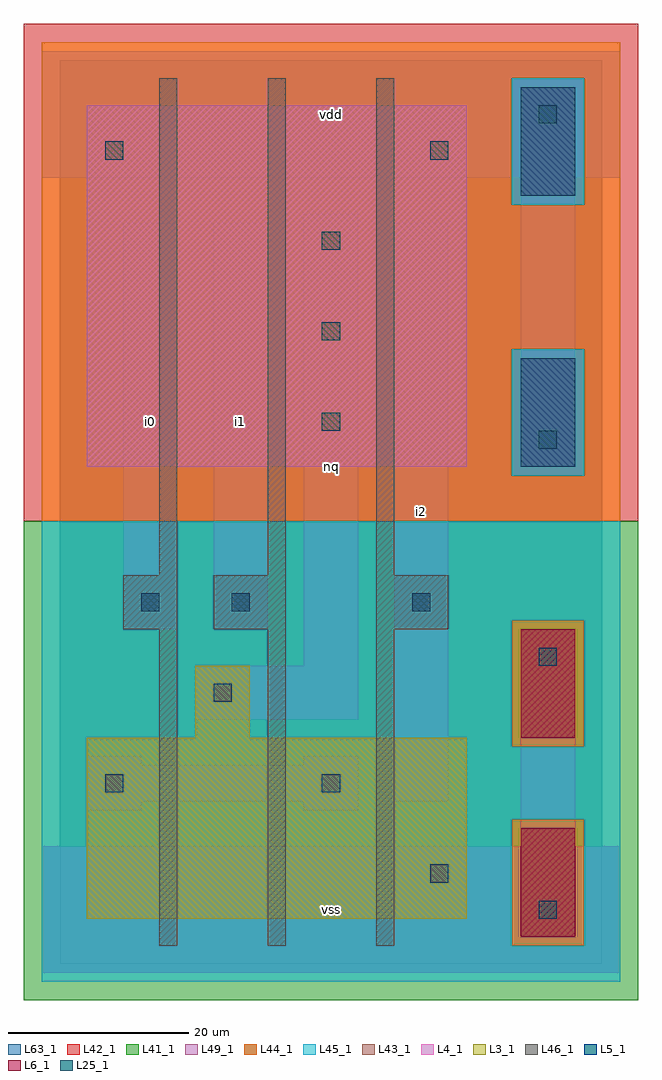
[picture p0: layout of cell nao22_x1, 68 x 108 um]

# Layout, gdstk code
import gdstk
lib = gdstk.Library(unit=1e-6, precision=1e-09)
def R(c, l, rs):  # rectangles x0, y0, x1, y1
    for r in rs: c.add(gdstk.rectangle(r[:2], r[2:], *l))
def A(c, l, x, y, w, h, nx, ny, dx, dy):  # array of equal rectangles
    R(c, l, [(x+i*dx, y+j*dy, x+i*dx+w, y+j*dy+h) for i in range(nx) for j in range(ny)])
L3_1 = (3, 1)
L4_1 = (4, 1)
L5_1 = (5, 1)
L6_1 = (6, 1)
L25_1 = (25, 1)
L41_1 = (41, 1)
L42_1 = (42, 1)
L43_1 = (43, 1)
L44_1 = (44, 1)
L45_1 = (45, 1)
L46_1 = (46, 1)
L49_1 = (49, 1)
L63_1 = (63, 1)

nao22_x1 = lib.new_cell('nao22_x1')
R(nao22_x1, L3_1, [(3,5,45,25), (15,25,21,33)])
R(nao22_x1, L4_1, [(3,55,45,95)])
R(nao22_x1, L5_1, [(51,55,57,67), (51,85,57,97)])
R(nao22_x1, L6_1, [(51,3,57,15), (51,25,57,37)])
A(nao22_x1, L25_1, 29, 59, 2, 2, 1, 3, 0, 10)
R(nao22_x1, L25_1, [(53,5,55,7), (41,9,43,11), (5,19,7,21), (29,19,31,21), (17,29,19,31), (53,33,55,35), (9,39,11,41), (19,39,21,41), (39,39,41,41), (53,57,55,59), (5,89,7,91), (41,89,43,91), (53,93,55,95)])
R(nao22_x1, L41_1, [(-4,-4,64,49)])
R(nao22_x1, L42_1, [(-4,49,64,104)])
A(nao22_x1, L43_1, 51, 25, 6, 12, 1, 3, 0, 30)
R(nao22_x1, L43_1, [(51,3,57,15), (3,5,45,25), (15,25,21,33), (3,55,45,95)])
R(nao22_x1, L44_1, [(50,2,58,16), (50,24,58,38), (-2,49,62,54), (-2,54,50,68), (58,54,62,68), (-2,68,62,84), (-2,84,50,98), (58,84,62,98), (-2,98,62,102)])
R(nao22_x1, L45_1, [(-2,-2,62,2), (-2,2,50,16), (58,2,62,16), (-2,16,62,24), (-2,24,50,38), (58,24,62,38), (-2,38,62,49), (50,54,58,68), (50,84,58,98)])
A(nao22_x1, L46_1, 11, 2, 2, 35, 3, 1, 12, 0)
A(nao22_x1, L46_1, 11, 43, 2, 55, 3, 1, 12, 0)
R(nao22_x1, L46_1, [(7,37,13,43), (17,37,25,43), (35,37,43,43)])
R(nao22_x1, L49_1, [(-2,-1,62,13), (51,13,57,37), (3,17,9,18), (27,17,33,18), (3,18,33,22), (37,18,43,82), (3,22,9,23), (27,22,33,23), (15,27,33,33), (27,33,33,83), (7,37,13,82), (17,37,23,82), (51,55,57,87), (-2,87,62,101)])
R(nao22_x1, L63_1, [(0,0,60,100)])
nao22_x1.add(gdstk.Label('i0', (10,60), layer=49, texttype=1))
nao22_x1.add(gdstk.Label('i0', (10,60), layer=49, texttype=1))
nao22_x1.add(gdstk.Label('i1', (20,60), layer=49, texttype=1))
nao22_x1.add(gdstk.Label('i1', (20,60), layer=49, texttype=1))
nao22_x1.add(gdstk.Label('vss', (30,6), layer=49, texttype=1))
nao22_x1.add(gdstk.Label('vss', (30,6), layer=49, texttype=1))
nao22_x1.add(gdstk.Label('i2', (40,50), layer=49, texttype=1))
nao22_x1.add(gdstk.Label('i2', (40,50), layer=49, texttype=1))
nao22_x1.add(gdstk.Label('nq', (30,55), layer=49, texttype=1))
nao22_x1.add(gdstk.Label('nq', (30,55), layer=49, texttype=1))
nao22_x1.add(gdstk.Label('vdd', (30,94), layer=49, texttype=1))
nao22_x1.add(gdstk.Label('vdd', (30,94), layer=49, texttype=1))

lib.write_gds('nao22_x1.gds')
